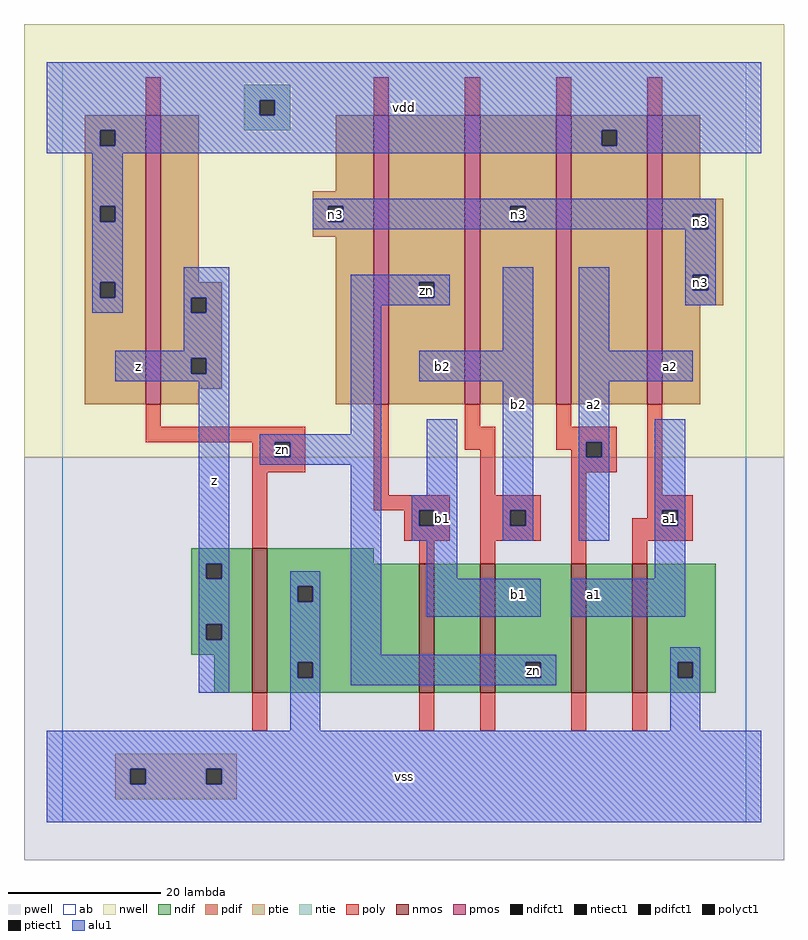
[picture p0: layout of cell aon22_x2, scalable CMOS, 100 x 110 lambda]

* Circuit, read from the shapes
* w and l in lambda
.subckt aon22_x2 a1 a2 b1 b2 n3 vdd vss z zn
M1 vss zn z vss nfet w=19 l=2
M2 n1 b1 vss vss nfet w=17 l=2
M3 zn b2 n1 vss nfet w=17 l=2
M4 n2 a2 zn vss nfet w=17 l=2
M5 vss a1 n2 vss nfet w=17 l=2
M6 z zn vdd vdd pfet w=38 l=2
M7 zn b1 n3 vdd pfet w=38 l=2
M8 n3 b2 zn vdd pfet w=38 l=2
M9 vdd a2 n3 vdd pfet w=38 l=2
M10 n3 a1 vdd vdd pfet w=38 l=2
.ends

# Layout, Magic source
magic
tech scmos
<< ab >>
rect 0 0 90 100
<< nwell >>
rect -5 48 95 105
<< pwell >>
rect -5 -5 95 48
<< poly >>
rect 11 93 13 98
rect 41 93 43 98
rect 53 93 55 98
rect 65 93 67 98
rect 77 93 79 98
rect 11 52 13 55
rect 11 50 32 52
rect 25 48 28 50
rect 30 48 32 50
rect 25 46 32 48
rect 25 36 27 46
rect 41 43 43 55
rect 53 52 55 55
rect 65 52 67 55
rect 53 49 57 52
rect 65 50 73 52
rect 65 49 69 50
rect 55 43 57 49
rect 67 48 69 49
rect 71 48 73 50
rect 67 46 73 48
rect 41 41 51 43
rect 45 39 47 41
rect 49 39 51 41
rect 45 37 51 39
rect 55 41 63 43
rect 55 39 59 41
rect 61 39 63 41
rect 55 37 63 39
rect 47 34 49 37
rect 55 34 57 37
rect 67 34 69 46
rect 77 43 79 55
rect 77 41 83 43
rect 77 40 79 41
rect 75 39 79 40
rect 81 39 83 41
rect 75 37 83 39
rect 75 34 77 37
rect 25 12 27 17
rect 47 12 49 17
rect 55 12 57 17
rect 67 12 69 17
rect 75 12 77 17
<< ndif >>
rect 17 34 25 36
rect 17 32 19 34
rect 21 32 25 34
rect 17 26 25 32
rect 17 24 19 26
rect 21 24 25 26
rect 17 22 25 24
rect 20 17 25 22
rect 27 34 41 36
rect 27 31 47 34
rect 27 29 31 31
rect 33 29 47 31
rect 27 21 47 29
rect 27 19 31 21
rect 33 19 47 21
rect 27 17 47 19
rect 49 17 55 34
rect 57 21 67 34
rect 57 19 61 21
rect 63 19 67 21
rect 57 17 67 19
rect 69 17 75 34
rect 77 21 86 34
rect 77 19 81 21
rect 83 19 86 21
rect 77 17 86 19
<< pdif >>
rect 3 91 11 93
rect 3 89 5 91
rect 7 89 11 91
rect 3 81 11 89
rect 3 79 5 81
rect 7 79 11 81
rect 3 71 11 79
rect 3 69 5 71
rect 7 69 11 71
rect 3 55 11 69
rect 13 71 18 93
rect 36 83 41 93
rect 33 81 41 83
rect 33 79 35 81
rect 37 79 41 81
rect 33 77 41 79
rect 13 69 21 71
rect 13 67 17 69
rect 19 67 21 69
rect 13 61 21 67
rect 13 59 17 61
rect 19 59 21 61
rect 13 57 21 59
rect 13 55 18 57
rect 36 55 41 77
rect 43 71 53 93
rect 43 69 47 71
rect 49 69 53 71
rect 43 55 53 69
rect 55 81 65 93
rect 55 79 59 81
rect 61 79 65 81
rect 55 55 65 79
rect 67 91 77 93
rect 67 89 71 91
rect 73 89 77 91
rect 67 55 77 89
rect 79 82 84 93
rect 79 80 87 82
rect 79 78 83 80
rect 85 78 87 80
rect 79 72 87 78
rect 79 70 83 72
rect 85 70 87 72
rect 79 68 87 70
rect 79 55 84 68
<< alu1 >>
rect -2 95 92 100
rect -2 93 26 95
rect 28 93 92 95
rect -2 91 92 93
rect -2 89 5 91
rect 7 89 71 91
rect 73 89 92 91
rect -2 88 92 89
rect 4 81 8 88
rect 4 79 5 81
rect 7 79 8 81
rect 4 71 8 79
rect 33 81 86 82
rect 33 79 35 81
rect 37 79 59 81
rect 61 80 86 81
rect 61 79 83 80
rect 33 78 83 79
rect 85 78 86 80
rect 4 69 5 71
rect 7 69 8 71
rect 4 67 8 69
rect 16 69 22 73
rect 16 67 17 69
rect 19 67 22 69
rect 16 62 22 67
rect 7 61 22 62
rect 7 59 17 61
rect 19 59 22 61
rect 7 58 22 59
rect 18 34 22 58
rect 38 71 51 72
rect 38 69 47 71
rect 49 69 51 71
rect 38 68 51 69
rect 38 51 42 68
rect 58 62 62 73
rect 47 58 62 62
rect 26 50 42 51
rect 26 48 28 50
rect 30 48 42 50
rect 26 47 42 48
rect 18 32 19 34
rect 21 32 22 34
rect 18 26 22 32
rect 18 24 19 26
rect 21 24 22 26
rect 18 17 22 24
rect 30 31 34 33
rect 30 29 31 31
rect 33 29 34 31
rect 30 21 34 29
rect 30 19 31 21
rect 33 19 34 21
rect 30 12 34 19
rect 38 22 42 47
rect 48 43 52 53
rect 46 41 52 43
rect 46 39 47 41
rect 49 39 52 41
rect 46 37 52 39
rect 58 41 62 58
rect 58 39 59 41
rect 61 39 62 41
rect 58 37 62 39
rect 68 62 72 73
rect 82 72 86 78
rect 82 70 83 72
rect 85 70 86 72
rect 82 68 86 70
rect 68 58 83 62
rect 68 50 72 58
rect 68 48 69 50
rect 71 48 72 50
rect 68 37 72 48
rect 78 41 82 53
rect 78 39 79 41
rect 81 39 82 41
rect 48 32 52 37
rect 78 32 82 39
rect 48 27 63 32
rect 67 27 82 32
rect 38 21 65 22
rect 38 19 61 21
rect 63 19 65 21
rect 38 18 65 19
rect 80 21 84 23
rect 80 19 81 21
rect 83 19 84 21
rect 80 12 84 19
rect -2 7 92 12
rect -2 5 9 7
rect 11 5 19 7
rect 21 5 92 7
rect -2 0 92 5
<< ptie >>
rect 7 7 23 9
rect 7 5 9 7
rect 11 5 19 7
rect 21 5 23 7
rect 7 3 23 5
<< ntie >>
rect 24 95 30 97
rect 24 93 26 95
rect 28 93 30 95
rect 24 91 30 93
<< nmos >>
rect 25 17 27 36
rect 47 17 49 34
rect 55 17 57 34
rect 67 17 69 34
rect 75 17 77 34
<< pmos >>
rect 11 55 13 93
rect 41 55 43 93
rect 53 55 55 93
rect 65 55 67 93
rect 77 55 79 93
<< polyct1 >>
rect 28 48 30 50
rect 69 48 71 50
rect 47 39 49 41
rect 59 39 61 41
rect 79 39 81 41
<< ndifct1 >>
rect 19 32 21 34
rect 19 24 21 26
rect 31 29 33 31
rect 31 19 33 21
rect 61 19 63 21
rect 81 19 83 21
<< ntiect1 >>
rect 26 93 28 95
<< ptiect1 >>
rect 9 5 11 7
rect 19 5 21 7
<< pdifct1 >>
rect 5 89 7 91
rect 5 79 7 81
rect 5 69 7 71
rect 35 79 37 81
rect 17 67 19 69
rect 17 59 19 61
rect 47 69 49 71
rect 59 79 61 81
rect 71 89 73 91
rect 83 78 85 80
rect 83 70 85 72
<< labels >>
rlabel polyct1 29 49 29 49 6 zn
rlabel pdifct1 36 80 36 80 6 n3
rlabel ndifct1 62 20 62 20 6 zn
rlabel pdifct1 48 70 48 70 6 zn
rlabel pdifct1 60 80 60 80 6 n3
rlabel pdifct1 84 71 84 71 6 n3
rlabel pdifct1 84 79 84 79 6 n3
rlabel alu1 10 60 10 60 6 z
rlabel alu1 20 45 20 45 6 z
rlabel alu1 45 6 45 6 6 vss
rlabel alu1 60 30 60 30 6 b1
rlabel alu1 50 40 50 40 6 b1
rlabel alu1 60 55 60 55 6 b2
rlabel alu1 50 60 50 60 6 b2
rlabel alu1 45 94 45 94 6 vdd
rlabel alu1 70 30 70 30 6 a1
rlabel polyct1 80 40 80 40 6 a1
rlabel alu1 70 55 70 55 6 a2
rlabel alu1 80 60 80 60 6 a2
<< end >>
